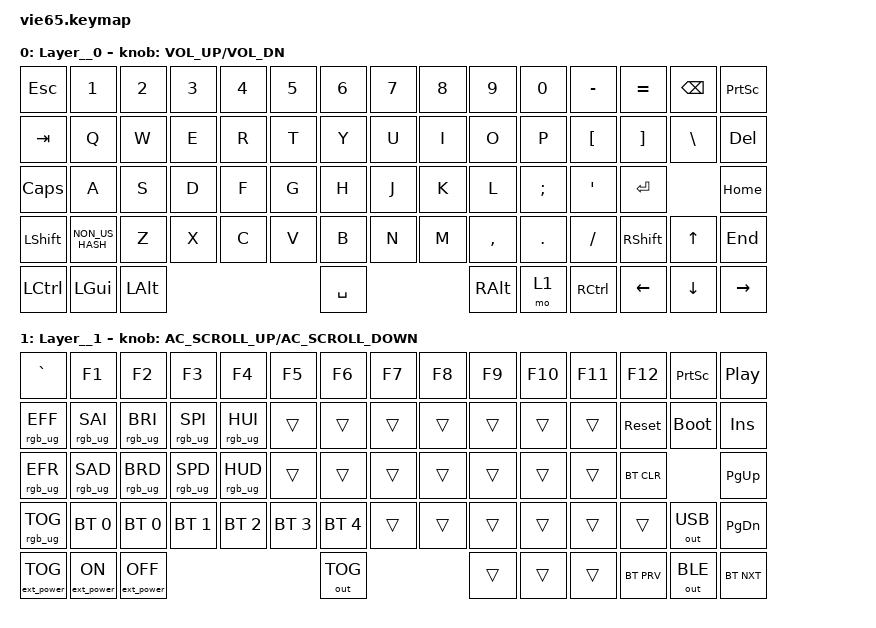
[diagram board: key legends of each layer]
/*
 * Copyright (c) 2021 Nick Winans
 *
 * SPDX-License-Identifier: MIT
 */

#include <behaviors.dtsi>
#include <dt-bindings/zmk/bt.h>
#include <dt-bindings/zmk/ext_power.h>
#include <dt-bindings/zmk/keys.h>
#include <dt-bindings/zmk/outputs.h>
#include <dt-bindings/zmk/rgb.h>

/ {
    macros {
        ZMK_MACRO(mc_pw,

        wait-ms = <1>;
        tap-ms = <100>;
        bindings = <&kp LS(T) &kp U &kp M &kp O &kp T &kp D &kp E &kp N &kp N1 &kp N2 &kp RET>;

        )
        
        ZMK_MACRO(

        zoom_pw,
        wait-ms = <1>;
        tap-ms = <100>;
        bindings = <&kp N6 &kp N6 &kp N7 &kp N5 &kp N8 &kp N0 &kp RET>;

        )
    };

    keymap {
        compatible = "zmk,keymap";

        Layer__0 {
            // ------------------------------------------------------------------------------------------
            // | ESC |  1  |  2  |  3  |  4  |  5  |  6  |  7  |  8  |  9  |  0  |  -  |  =  | BSPC |DEL|
            // | TAB  |  Q  |  W  |  E  |  R  |  T  |  Y  |  U  |  I  |  O  |  P  |  [  |  ]  |   "|"   |
            // | CAPS  |  A  |  S  |  D  |  F  |  G  |  H  |  J  |  K  |  L  |  ;  |  '  |     ENTER    |
            // |  SHIFT  |  Z  |  X  |  C  |  V  |  B  |  N  |  M  |  ,  |  .  |  /  |      SHIFT       |
            // |  CTL  |  WIN  |  ALT  |            SPACE              |  ALT  |  WIN  |  MO(1) |  CTL  |
            // ------------------------------------------------------------------------------------------

            bindings = <
&kp ESC    &kp N1           &kp N2    &kp N3  &kp N4  &kp N5  &kp N6     &kp N7  &kp N8  &kp N9     &kp N0    &kp MINUS  &kp EQUAL  &kp BSPC  &kp PRINTSCREEN
&kp TAB    &kp Q            &kp W     &kp E   &kp R   &kp T   &kp Y      &kp U   &kp I   &kp O      &kp P     &kp LBKT   &kp RBKT   &kp BSLH  &kp DELETE
&kp CAPS   &kp A            &kp S     &kp D   &kp F   &kp G   &kp H      &kp J   &kp K   &kp L      &kp SEMI  &kp SQT    &kp RET              &kp HOME
&kp LSHFT  &kp NON_US_HASH  &kp Z     &kp X   &kp C   &kp V   &kp B      &kp N   &kp M   &kp COMMA  &kp DOT   &kp FSLH   &kp RSHFT  &kp UP    &kp END
&kp LCTRL  &kp LGUI         &kp LALT                          &kp SPACE                  &kp RALT   &mo 1     &kp RCTRL  &kp LEFT   &kp DOWN  &kp RIGHT
            >;

            sensor-bindings = <&inc_dec_kp C_VOL_UP C_VOL_DN>;
        };

        Layer__1 {
            bindings = <
&kp GRAVE          &kp F1            &kp F2             &kp F3           &kp F4           &kp F5        &kp F6        &kp F7  &kp F8  &kp F9  &kp F10  &kp F11  &kp F12     &kp PRINTSCREEN  &kp C_PLAY_PAUSE
&rgb_ug RGB_EFF    &rgb_ug RGB_SAI   &rgb_ug RGB_BRI    &rgb_ug RGB_SPI  &rgb_ug RGB_HUI  &trans        &trans        &trans  &trans  &trans  &trans   &trans   &sys_reset  &bootloader      &kp INS
&rgb_ug RGB_EFR    &rgb_ug RGB_SAD   &rgb_ug RGB_BRD    &rgb_ug RGB_SPD  &rgb_ug RGB_HUD  &trans        &trans        &trans  &trans  &trans  &trans   &trans   &bt BT_CLR                   &kp PAGE_UP
&rgb_ug RGB_TOG    &bt BT_SEL 0      &bt BT_SEL 0       &bt BT_SEL 1     &bt BT_SEL 2     &bt BT_SEL 3  &bt BT_SEL 4  &trans  &trans  &trans  &trans   &trans   &trans      &out OUT_USB     &kp PAGE_DOWN
&ext_power EP_TOG  &ext_power EP_ON  &ext_power EP_OFF                                                  &out OUT_TOG                  &trans  &trans   &trans   &bt BT_PRV  &out OUT_BLE     &bt BT_NXT
            >;

            sensor-bindings = <&inc_dec_kp C_AC_SCROLL_UP C_AC_SCROLL_DOWN>;
        };
    };
};
